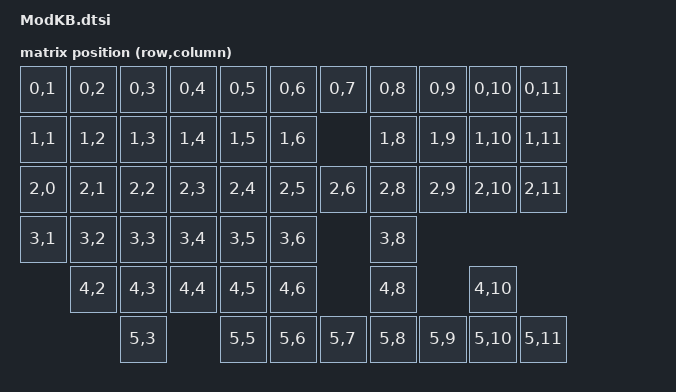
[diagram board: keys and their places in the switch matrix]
#include <dt-bindings/zmk/matrix_transform.h>

/ {
    default_transform: matrix_transform {
        compatible = "zmk,matrix-transform";
        columns = <12>;
        rows = <6>;
        map = <
                RC(0,1) RC(0,2) RC(0,3) RC(0,4) RC(0,5) RC(0,6) RC(0,7)  RC(0,8) RC(0,9) RC(0,10) RC(0,11) //row 1
                RC(1,1) RC(1,2) RC(1,3) RC(1,4) RC(1,5) RC(1,6)          RC(1,8) RC(1,9) RC(1,10) RC(1,11) //row 2
        RC(2,0) RC(2,1) RC(2,2) RC(2,3) RC(2,4) RC(2,5) RC(2,6)          RC(2,8) RC(2,9) RC(2,10) RC(2,11) //row 3
                RC(3,1) RC(3,2) RC(3,3) RC(3,4) RC(3,5) RC(3,6)          RC(3,8)                            //row 4
                        RC(4,2) RC(4,3) RC(4,4) RC(4,5) RC(4,6)          RC(4,8)         RC(4,10)          //row 5
                                RC(5,3)         RC(5,5) RC(5,6) RC(5,7)  RC(5,8) RC(5,9) RC(5,10) RC(5,11) //row 6
        >;
    };

// PHYSICAL LAYOUT

    physical_layout: physical_layout_0 {
        compatible = "zmk,physical-layout";
        display-name = "default layout";
        transform = <&default_transform>;
    };

// BATTERY
    vbatt: vbatt {
        compatible = "zmk,battery-nrf-vddh";
    };

};

//for battery
&reg0 {
    status = "okay";

};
